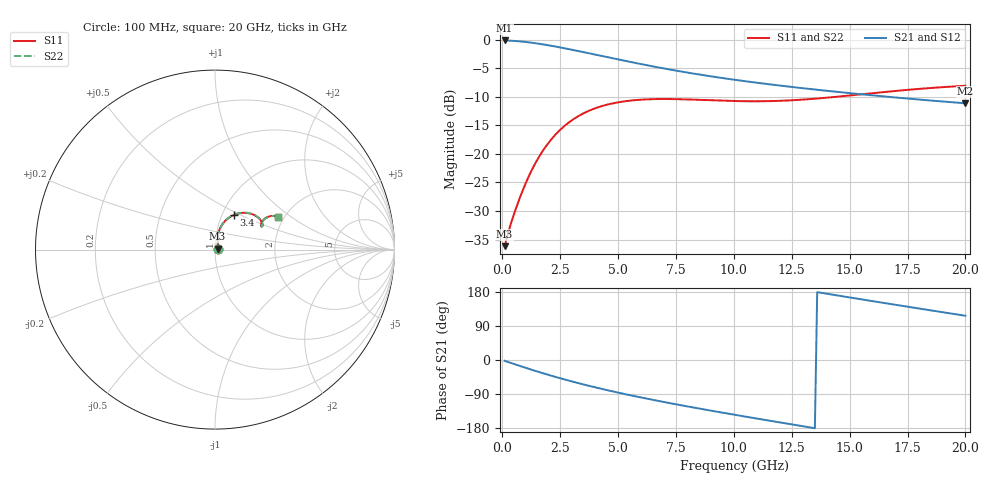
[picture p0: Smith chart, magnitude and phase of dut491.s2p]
! Touchstone file exported from HFSS 2024.1.0
!  File:  C:/UserFiles/LocalFiles/RDL_TSV_Batchsim/temp_RDL_TSV_491_1779734973.aedt
!  Generated:  03:07:28 AM May 26, 2026
!  Design:  RDL_TSV
!  Project:  temp_RDL_TSV_491_1779734973
!  Setup:  Setup1
!  Solution:  Sweep
! Variables:
!  dtsv = 8.61um
!  hbump = 3um
!  htsv = 70.12um
!  ldown = 294.18um
!  lrdl = 699.73um
!  p = 40
!  p1 = 59.56um
!  rhole = 10um
!  subl = 3681.46um
!  t = 450um
!  tdown = 3.05um
!  trdl = 4.72um
!  viad = 10um
!  wdown = 28.99um
!  wrdl = 21.31um
!  xbump = 18um
# GHz S MA R 50.000000
! Terminal data exported
! Port[1] = TM1_1_T1
! Port[2] = TM1_4_T1
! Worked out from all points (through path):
!   200 points, 100 MHz to 20 GHz, reference 50 ohm
!   highest |S21| = -0.13 dB at 100 MHz (marker M1); lowest = -11.1 dB at 20 GHz (marker M2)
!   group delay of S21, straight-line fit = 31.8 ps
!   lowest |S11| = -36.2 dB at 100 MHz (marker M3), VSWR 1.03, Z = 51.5 + j0.582 ohm
!   |S11| at or under -10 dB: start of sweep to 14.42 GHz
!   |S22| runs from -36.2 to -8.1 dB; largest |S21 - S12| = 9.6e-15
!   S11 on the Smith chart (normalised r, x): 100 MHz: 1.03, +0.01; 3.4 GHz: 1.14, +0.46; 20 GHz: 1.85, +0.80
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0.1  0.01556 21.3  0.9852 -2.1  0.9852 -2.1  0.01556 21.3
! Gamma 0 0 0 0
! Port Impedance 50 0 50 0
0.4  0.02558 52.5  0.9791 -8.4  0.9791 -8.4  0.02558 52.5
0.7  0.0384 67.3  0.9695 -14.5  0.9695 -14.5  0.0384 67.3
1.1  0.06081 76.4  0.9511 -22.5  0.9511 -22.5  0.06082 76.4
1.5  0.088 78.5  0.9276 -30.2  0.9276 -30.2  0.08804 78.6
1.9  0.1178 77.0  0.9004 -37.6  0.9004 -37.6  0.1178 77.1
2.4  0.1553 72.6  0.8636 -46.5  0.8636 -46.5  0.1554 72.7
2.9  0.1903 67.1  0.8252 -54.9  0.8252 -54.9  0.1905 67.1
3.4  0.2207 61.3  0.7867 -62.9  0.7867 -62.9  0.221 61.3
3.5  0.2262 60.1  0.779 -64.4  0.779 -64.4  0.2265 60.2
4.2  0.2584 52.5  0.7271 -74.9  0.7271 -74.9  0.2588 52.5
5.1  0.2851 44.0  0.6655 -87.4  0.6655 -87.4  0.2857 44.1
5.9  0.2976 38.0  0.6168 -97.8  0.6168 -97.8  0.2982 38.0
6.8  0.3024 32.7  0.5688 -108.8  0.5688 -108.8  0.3031 32.7
8.4  0.298 27.4  0.4996 -127.0  0.4996 -127.0  0.2988 27.4
10.1  0.2901 26.3  0.4438 -145.2  0.4438 -145.2  0.2908 26.2
11.7  0.2904 28.0  0.403 -161.8  0.403 -161.8  0.291 27.9
13.4  0.3032 30.5  0.3681 -179.0  0.3681 -179.0  0.3036 30.4
15.1  0.3262 31.9  0.3391 164.1  0.3391 164.1  0.3264 31.7
16.7  0.3514 31.6  0.3158 148.4  0.3158 148.4  0.3514 31.4
18.3  0.3751 30.0  0.2957 132.9  0.2957 132.9  0.375 29.9
20  0.3951 27.6  0.2774 116.8  0.2774 116.8  0.3948 27.5
